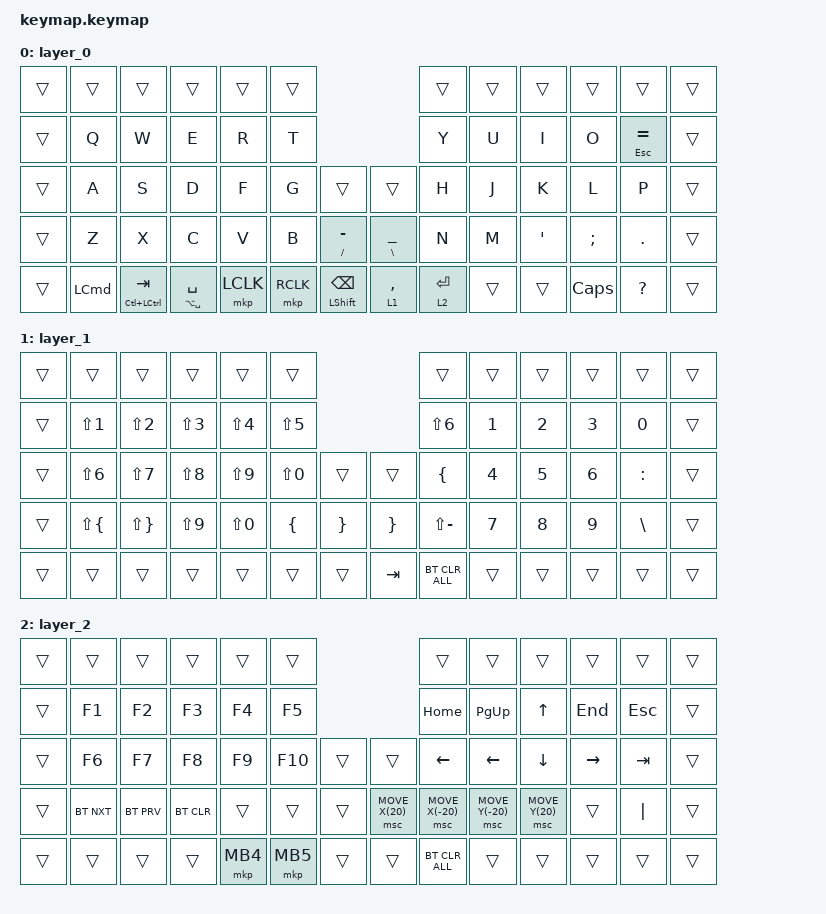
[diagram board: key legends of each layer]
#include <behaviors.dtsi>
#include <dt-bindings/zmk/bt.h>
#include <dt-bindings/zmk/keys.h>
#include <dt-bindings/zmk/pointing.h>

/ {
    combos {
        compatible = "zmk,combos";

        mouse_move {
            bindings = <&mkp MCLK>;
            key-positions = <14 13>;
        };
    };

    keymap {
        compatible = "zmk,keymap";

        layer_0 {
            bindings = <
&trans  &trans            &trans                    &trans               &trans     &trans                                                         &trans       &trans  &trans            &trans         &trans         &trans
&trans  &kp Q             &kp W                     &kp E                &kp R      &kp T                                                          &kp Y        &kp U   &kp I             &kp O          &mt ESC EQUAL  &trans
&trans  &kp A             &kp S                     &kp D                &kp F      &kp G      &trans                    &trans                    &kp H        &kp J   &kp K             &kp L          &kp P          &trans
&trans  &kp Z             &kp X                     &kp C                &kp V      &kp B      &mt SLASH MINUS           &mt BACKSLASH UNDERSCORE  &kp N        &kp M   &kp SINGLE_QUOTE  &kp SEMICOLON  &kp PERIOD     &trans
&trans  &kp LEFT_COMMAND  &mt LC(LEFT_CONTROL) TAB  &mt LA(SPACE) SPACE  &mkp LCLK  &mkp RCLK  &mt LEFT_SHIFT BACKSPACE  &lt 1 COMMA               &lt 2 ENTER  &trans  &trans            &kp CAPS       &kp QUESTION   &trans
            >;
        };

        layer_1 {
            bindings = <
&trans  &trans              &trans               &trans      &trans      &trans                                            &trans          &trans        &trans        &trans        &trans         &trans
&trans  &kp LS(NUMBER_1)    &kp LS(NUMBER_2)     &kp LS(N3)  &kp LS(N4)  &kp LS(N5)                                        &kp LS(N6)      &kp NUMBER_1  &kp NUMBER_2  &kp NUMBER_3  &kp N0         &trans
&trans  &kp LS(NUMBER_6)    &kp LS(N7)           &kp LS(N8)  &kp LS(N9)  &kp LS(N0)      &trans           &trans           &kp LEFT_BRACE  &kp NUMBER_4  &kp N5        &kp NUMBER_6  &kp COLON      &trans
&trans  &kp LS(LEFT_BRACE)  &kp LS(RIGHT_BRACE)  &kp LS(N9)  &kp LS(N0)  &kp LEFT_BRACE  &kp RIGHT_BRACE  &kp RIGHT_BRACE  &kp LS(MINUS)   &kp N7        &kp N8        &kp N9        &kp BACKSLASH  &trans
&trans  &trans              &trans               &trans      &trans      &trans          &trans           &kp TAB          &bt BT_CLR_ALL  &trans        &trans        &trans        &trans         &trans
            >;
        };

        layer_2 {
            bindings = <
&trans  &trans      &trans      &trans      &trans    &trans                             &trans            &trans            &trans           &trans     &trans      &trans
&trans  &kp F1      &kp F2      &kp F3      &kp F4    &kp F5                             &kp HOME          &kp PG_UP         &kp UP           &kp END    &kp ESCAPE  &trans
&trans  &kp F6      &kp F7      &kp F8      &kp F9    &kp F10   &trans  &trans           &kp LEFT          &kp LEFT_ARROW    &kp DOWN_ARROW   &kp RIGHT  &kp TAB     &trans
&trans  &bt BT_NXT  &bt BT_PRV  &bt BT_CLR  &trans    &trans    &trans  &msc MOVE_X(20)  &msc MOVE_X(-20)  &msc MOVE_Y(-20)  &msc MOVE_Y(20)  &trans     &kp PIPE    &trans
&trans  &trans      &trans      &trans      &mkp MB4  &mkp MB5  &trans  &trans           &bt BT_CLR_ALL    &trans            &trans           &trans     &trans      &trans
            >;
        };
    };
};
